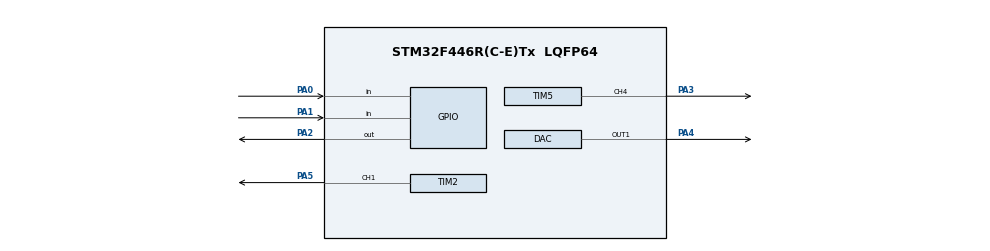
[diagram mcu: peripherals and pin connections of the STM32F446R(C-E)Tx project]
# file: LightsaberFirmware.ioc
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Dma.Request0=TIM2_CH1
Dma.TIM2_CH1.0.Direction=DMA_MEMORY_TO_PERIPH
Dma.TIM2_CH1.0.FIFOMode=DMA_FIFOMODE_DISABLE
Dma.TIM2_CH1.0.Instance=DMA1_Stream5
Dma.TIM2_CH1.0.MemDataAlignment=DMA_MDATAALIGN_WORD
Dma.TIM2_CH1.0.MemInc=DMA_MINC_ENABLE
Dma.TIM2_CH1.0.Mode=DMA_NORMAL
Dma.TIM2_CH1.0.PeriphDataAlignment=DMA_PDATAALIGN_WORD
Dma.TIM2_CH1.0.PeriphInc=DMA_PINC_DISABLE
Dma.TIM2_CH1.0.Priority=DMA_PRIORITY_VERY_HIGH
Mcu.Family=STM32F4
Mcu.Name=STM32F446R(C-E)Tx
Mcu.Package=LQFP64
NVIC.DMA1_Stream5_IRQn=true\:0\:0\:false\:false\:true\:false\:true\:true
NVIC.PriorityGroup=NVIC_PRIORITYGROUP_4
NVIC.TIM6_DAC_IRQn=true\:0\:0\:false\:false\:true\:true\:true\:true
PA0-WKUP.Signal=GPIO_Input
PA1.Signal=GPIO_Input
PA13.Mode=Trace_Asynchronous_SW
PA13.Signal=SYS_JTMS-SWDIO
PA14.Mode=Trace_Asynchronous_SW
PA14.Signal=SYS_JTCK-SWCLK
PA2.PinState=GPIO_PIN_SET
PA2.Signal=GPIO_Output
PA3.Signal=S_TIM5_CH4
PA4.Signal=COMP_DAC1_group
PA5.Signal=S_TIM2_CH1_ETR
PB3.Mode=Trace_Asynchronous_SW
PB3.Signal=SYS_JTDO-SWO
PH0-OSC_IN.Mode=HSE-External-Oscillator
PH0-OSC_IN.Signal=RCC_OSC_IN
PH1-OSC_OUT.Mode=HSE-External-Oscillator
PH1-OSC_OUT.Signal=RCC_OSC_OUT
ProjectManager.HeapSize=0x200
ProjectManager.StackSize=0x400
ProjectManager.TargetToolchain=STM32CubeIDE
RCC.APB2Freq_Value=16000000
RCC.APB2TimFreq_Value=16000000
RCC.CortexFreq_Value=16000000
RCC.HSE_VALUE=8000000
RCC.USBFreq_Value=96000000
RCC.VCOOutputFreq_Value=192000000
SH.COMP_DAC1_group.0=DAC_OUT1,DAC_OUT1
SH.S_TIM2_CH1_ETR.0=TIM2_CH1,PWM Generation1 CH1
SH.S_TIM5_CH4.0=TIM5_CH4,PWM Generation4 CH4
TIM2.Channel-PWM\ Generation1\ CH1=TIM_CHANNEL_1
TIM2.Period=20-1
TIM5.Channel-PWM\ Generation4\ CH4=TIM_CHANNEL_4
TIM5.Period=1000 - 1
TIM6.Period=2000 - 1
VP_TIM2_VS_ClockSourceINT.Mode=Internal
VP_TIM6_VS_ClockSourceINT.Mode=Enable_Timer
board=custom

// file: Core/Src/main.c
/* USER CODE BEGIN Header */
/**
  ******************************************************************************
  * @file           : main.c
  * @brief          : Main program body
  ******************************************************************************
  * @attention
  *
  * Copyright (c) 2024 STMicroelectronics.
  * All rights reserved.
  *
  * This software is licensed under terms that can be found in the LICENSE file
  * in the root directory of this software component.
  * If no LICENSE file comes with this software, it is provided AS-IS.
  *
  ******************************************************************************
  */
/* USER CODE END Header */
#include "main.h"

/* USER CODE BEGIN Includes */
#include "sound.h"
/* USER CODE END Includes */

/* USER CODE BEGIN PTD */
// Datatype to store the color to be sent to neopixels. Only lower 24 bits are used
typedef union {
	struct {
		uint8_t b;
		uint8_t r;
		uint8_t g;
	} color;
	uint32_t data;
} PixelGRB_t;
// Datatype to determine state of lightsaber
enum STATE {
	STARTUP,
	LIGHT,
	OFF
};

/* USER CODE END PTD */

/* USER CODE BEGIN PD */
#define NEOPIXEL_ZERO 5 // Needs to be high for 1/4 of 20 ticks
#define NEOPIXEL_ONE 10 // high for 1/2 of 20 ticks

#define NUM_PIXELS 30

#define DMA_BUFF_SIZE (NUM_PIXELS * 24) + 1
/* USER CODE END PD */

DAC_HandleTypeDef hdac;

TIM_HandleTypeDef htim2;
TIM_HandleTypeDef htim5;
TIM_HandleTypeDef htim6;
DMA_HandleTypeDef hdma_tim2_ch1;

/* USER CODE BEGIN PV */
int soundIndex = 0;
int play = 0;
int rep = 0;
/* USER CODE END PV */

void SystemClock_Config(void);
static void MX_GPIO_Init(void);
static void MX_DMA_Init(void);
static void MX_DAC_Init(void);
static void MX_TIM2_Init(void);
static void MX_TIM6_Init(void);
static void MX_TIM5_Init(void);

/* USER CODE BEGIN 0 */
void HAL_TIM_PWM_PulseFinishedCallback(TIM_HandleTypeDef *htim)
{
  HAL_TIM_PWM_Stop_DMA(htim, TIM_CHANNEL_1);
}
void HAL_TIM_PeriodElapsedCallback(TIM_HandleTypeDef *htim) {
  // callback updates sound every 125us
	if (htim == &htim6) {
		if (play) {
			HAL_DAC_SetValue(&hdac, DAC_CHANNEL_1, DAC_ALIGN_8B_R, swing[soundIndex]);
			soundIndex++;
			if (soundIndex >= 4272) {
				soundIndex = 0;
				play = 0;
				rep = 1;
			}
		}
		else {
			if (rep) {
				HAL_DAC_SetValue(&hdac, DAC_CHANNEL_1, DAC_ALIGN_12B_R, 0);
				rep = 0;
			}

		}
	}
}
/* USER CODE END 0 */

int main(void)
{

  /* USER CODE BEGIN 1 */
	PixelGRB_t pixels[NUM_PIXELS];
	uint32_t dmaBuff [DMA_BUFF_SIZE];
  /* USER CODE END 1 */

  /* MCU Configuration--------------------------------------------------------*/

  /* Reset of all peripherals, Initializes the Flash interface and the Systick. */
  HAL_Init();

  /* Configure the system clock */
  SystemClock_Config();

  /* Initialize all configured peripherals */
  MX_GPIO_Init();
  MX_DMA_Init();
  MX_DAC_Init();
  MX_TIM2_Init();
  MX_TIM6_Init();
  MX_TIM5_Init();
  /* USER CODE BEGIN 2 */
  int nextLightTime = 100;
  enum STATE currentState = STARTUP;
  int prevButton = 0;
  int offTime;
  int litPixels = 0;
  HAL_DAC_Start(&hdac, DAC_CHANNEL_1);
  HAL_TIM_Base_Start_IT(&htim6);
  HAL_DAC_SetValue(&hdac, DAC_CHANNEL_1, DAC_ALIGN_12B_R, 0);
  HAL_TIM_PWM_Start(&htim5, TIM_CHANNEL_4);

  /* USER CODE END 2 */

  /* Infinite loop */
  /* USER CODE BEGIN WHILE */
  while (1)
  {
	  int currentButton = HAL_GPIO_ReadPin(GPIOA, GPIO_PIN_0);
	  int lightTime = HAL_GetTick();

	  switch(currentState) {
	  case STARTUP:
      // case for after button pressed to turn on firmware, before released
		  if (!currentButton) {
			  currentState = LIGHT;
		  }
		  play = 1;
		  litPixels = 0;
      // rumble motor
		  __HAL_TIM_SET_COMPARE(&htim5, TIM_CHANNEL_4, 900);

		  break;
	  case LIGHT:
      // normal opperation state
		  if (!currentButton && prevButton) {
			  currentState = OFF;
			  offTime = lightTime;
		  }
		  __HAL_TIM_SET_COMPARE(&htim5, TIM_CHANNEL_4, 0);

		  break;
	  case OFF:
      // turn off state
		  if (lightTime - offTime > 5000) {
        // enter sleep mode
			  HAL_GPIO_WritePin(GPIOA, GPIO_PIN_2, GPIO_PIN_RESET);
		  }
		  if (!currentButton && prevButton) {
			  currentState = LIGHT;
		  }
		  break;
	  default:
		  currentState = LIGHT;

	  }
    // Updates color packet for neopixel
	  if (lightTime >= nextLightTime) {
		  nextLightTime = lightTime + 100;
		  if (currentState != OFF) {
        // for startup sequence
			  litPixels += 5;
			  if (litPixels > NUM_PIXELS) {
				  litPixels = NUM_PIXELS;
			  }
		  }
		  else {
			  litPixels -= 5;
			  if (litPixels < 0) {
				  litPixels = 0;
			  }
		  }
		  for (int i = 0; i < NUM_PIXELS; i++) {
			  if (i <= litPixels) {
				  pixels[i].color.g = 0;
				  pixels[i].color.r = 50;
				  pixels[i].color.b = 0;
			  }
			  else {
				  pixels[i].color.g = 0;
				  pixels[i].color.r = 0;
				  pixels[i].color.b = 0;
			  }

		  }
      // Sends color data to DMA
		  for (int i = 0; i < NUM_PIXELS; i++) {
			  for (int j = 0; j < 24; j++) {
				  if (((pixels[i].data) >> (23 - j)) & 0x01) {
					  dmaBuff[i * 24 + j] = NEOPIXEL_ONE;
				  }
				  else {
					  dmaBuff[i * 24 + j] = NEOPIXEL_ZERO;
				  }
			  }
		  }
		  HAL_TIM_PWM_Start_DMA(&htim2, TIM_CHANNEL_1, dmaBuff, DMA_BUFF_SIZE);
	  }
	  prevButton = currentButton;

    /* USER CODE END WHILE */

  }
}

void SystemClock_Config(void)
{
  RCC_OscInitTypeDef RCC_OscInitStruct = {0};
  RCC_ClkInitTypeDef RCC_ClkInitStruct = {0};

  /** Configure the main internal regulator output voltage
  */
  __HAL_RCC_PWR_CLK_ENABLE();
  __HAL_PWR_VOLTAGESCALING_CONFIG(PWR_REGULATOR_VOLTAGE_SCALE3);

  /** Initializes the RCC Oscillators according to the specified parameters
  * in the RCC_OscInitTypeDef structure.
  */
  RCC_OscInitStruct.OscillatorType = RCC_OSCILLATORTYPE_HSI;
  RCC_OscInitStruct.HSIState = RCC_HSI_ON;
  RCC_OscInitStruct.HSICalibrationValue = RCC_HSICALIBRATION_DEFAULT;
  RCC_OscInitStruct.PLL.PLLState = RCC_PLL_NONE;
  if (HAL_RCC_OscConfig(&RCC_OscInitStruct) != HAL_OK)
  {
    Error_Handler();
  }

  /** Initializes the CPU, AHB and APB buses clocks
  */
  RCC_ClkInitStruct.ClockType = RCC_CLOCKTYPE_HCLK|RCC_CLOCKTYPE_SYSCLK
                              |RCC_CLOCKTYPE_PCLK1|RCC_CLOCKTYPE_PCLK2;
  RCC_ClkInitStruct.SYSCLKSource = RCC_SYSCLKSOURCE_HSI;
  RCC_ClkInitStruct.AHBCLKDivider = RCC_SYSCLK_DIV1;
  RCC_ClkInitStruct.APB1CLKDivider = RCC_HCLK_DIV1;
  RCC_ClkInitStruct.APB2CLKDivider = RCC_HCLK_DIV1;

  if (HAL_RCC_ClockConfig(&RCC_ClkInitStruct, FLASH_LATENCY_0) != HAL_OK)
  {
    Error_Handler();
  }
}

static void MX_DAC_Init(void)
{

  DAC_ChannelConfTypeDef sConfig = {0};

  /** DAC Initialization
  */
  hdac.Instance = DAC;
  if (HAL_DAC_Init(&hdac) != HAL_OK)
  {
    Error_Handler();
  }

  /** DAC channel OUT1 config
  */
  sConfig.DAC_Trigger = DAC_TRIGGER_NONE;
  sConfig.DAC_OutputBuffer = DAC_OUTPUTBUFFER_ENABLE;
  if (HAL_DAC_ConfigChannel(&hdac, &sConfig, DAC_CHANNEL_1) != HAL_OK)
  {
    Error_Handler();
  }

}

static void MX_TIM2_Init(void)
{

  TIM_ClockConfigTypeDef sClockSourceConfig = {0};
  TIM_MasterConfigTypeDef sMasterConfig = {0};
  TIM_OC_InitTypeDef sConfigOC = {0};

  htim2.Instance = TIM2;
  htim2.Init.Prescaler = 0;
  htim2.Init.CounterMode = TIM_COUNTERMODE_UP;
  htim2.Init.Period = 20-1;
  htim2.Init.ClockDivision = TIM_CLOCKDIVISION_DIV1;
  htim2.Init.AutoReloadPreload = TIM_AUTORELOAD_PRELOAD_DISABLE;
  if (HAL_TIM_Base_Init(&htim2) != HAL_OK)
  {
    Error_Handler();
  }
  sClockSourceConfig.ClockSource = TIM_CLOCKSOURCE_INTERNAL;
  if (HAL_TIM_ConfigClockSource(&htim2, &sClockSourceConfig) != HAL_OK)
  {
    Error_Handler();
  }
  if (HAL_TIM_PWM_Init(&htim2) != HAL_OK)
  {
    Error_Handler();
  }
  sMasterConfig.MasterOutputTrigger = TIM_TRGO_RESET;
  sMasterConfig.MasterSlaveMode = TIM_MASTERSLAVEMODE_DISABLE;
  if (HAL_TIMEx_MasterConfigSynchronization(&htim2, &sMasterConfig) != HAL_OK)
  {
    Error_Handler();
  }
  sConfigOC.OCMode = TIM_OCMODE_PWM1;
  sConfigOC.Pulse = 0;
  sConfigOC.OCPolarity = TIM_OCPOLARITY_HIGH;
  sConfigOC.OCFastMode = TIM_OCFAST_DISABLE;
  if (HAL_TIM_PWM_ConfigChannel(&htim2, &sConfigOC, TIM_CHANNEL_1) != HAL_OK)
  {
    Error_Handler();
  }
  HAL_TIM_MspPostInit(&htim2);

}

static void MX_TIM5_Init(void)
{

  TIM_MasterConfigTypeDef sMasterConfig = {0};
  TIM_OC_InitTypeDef sConfigOC = {0};

  htim5.Instance = TIM5;
  htim5.Init.Prescaler = 0;
  htim5.Init.CounterMode = TIM_COUNTERMODE_UP;
  htim5.Init.Period = 1000 - 1;
  htim5.Init.ClockDivision = TIM_CLOCKDIVISION_DIV1;
  htim5.Init.AutoReloadPreload = TIM_AUTORELOAD_PRELOAD_DISABLE;
  if (HAL_TIM_PWM_Init(&htim5) != HAL_OK)
  {
    Error_Handler();
  }
  sMasterConfig.MasterOutputTrigger = TIM_TRGO_RESET;
  sMasterConfig.MasterSlaveMode = TIM_MASTERSLAVEMODE_DISABLE;
  if (HAL_TIMEx_MasterConfigSynchronization(&htim5, &sMasterConfig) != HAL_OK)
  {
    Error_Handler();
  }
  sConfigOC.OCMode = TIM_OCMODE_PWM1;
  sConfigOC.Pulse = 0;
  sConfigOC.OCPolarity = TIM_OCPOLARITY_HIGH;
  sConfigOC.OCFastMode = TIM_OCFAST_DISABLE;
  if (HAL_TIM_PWM_ConfigChannel(&htim5, &sConfigOC, TIM_CHANNEL_4) != HAL_OK)
  {
    Error_Handler();
  }
  HAL_TIM_MspPostInit(&htim5);

}

static void MX_TIM6_Init(void)
{

  TIM_MasterConfigTypeDef sMasterConfig = {0};

  htim6.Instance = TIM6;
  htim6.Init.Prescaler = 0;
  htim6.Init.CounterMode = TIM_COUNTERMODE_UP;
  htim6.Init.Period = 2000 - 1;
  htim6.Init.AutoReloadPreload = TIM_AUTORELOAD_PRELOAD_DISABLE;
  if (HAL_TIM_Base_Init(&htim6) != HAL_OK)
  {
    Error_Handler();
  }
  sMasterConfig.MasterOutputTrigger = TIM_TRGO_RESET;
  sMasterConfig.MasterSlaveMode = TIM_MASTERSLAVEMODE_DISABLE;
  if (HAL_TIMEx_MasterConfigSynchronization(&htim6, &sMasterConfig) != HAL_OK)
  {
    Error_Handler();
  }

}

static void MX_DMA_Init(void)
{

  /* DMA controller clock enable */
  __HAL_RCC_DMA1_CLK_ENABLE();

  /* DMA interrupt init */
  /* DMA1_Stream5_IRQn interrupt configuration */
  HAL_NVIC_SetPriority(DMA1_Stream5_IRQn, 0, 0);
  HAL_NVIC_EnableIRQ(DMA1_Stream5_IRQn);

}

static void MX_GPIO_Init(void)
{
  GPIO_InitTypeDef GPIO_InitStruct = {0};

  /* GPIO Ports Clock Enable */
  __HAL_RCC_GPIOH_CLK_ENABLE();
  __HAL_RCC_GPIOA_CLK_ENABLE();
  __HAL_RCC_GPIOB_CLK_ENABLE();

  /*Configure GPIO pin Output Level */
  HAL_GPIO_WritePin(GPIOA, GPIO_PIN_2, GPIO_PIN_SET);

  /*Configure GPIO pins : PA0 PA1 */
  GPIO_InitStruct.Pin = GPIO_PIN_0|GPIO_PIN_1;
  GPIO_InitStruct.Mode = GPIO_MODE_INPUT;
  GPIO_InitStruct.Pull = GPIO_NOPULL;
  HAL_GPIO_Init(GPIOA, &GPIO_InitStruct);

  /*Configure GPIO pin : PA2 */
  GPIO_InitStruct.Pin = GPIO_PIN_2;
  GPIO_InitStruct.Mode = GPIO_MODE_OUTPUT_PP;
  GPIO_InitStruct.Pull = GPIO_NOPULL;
  GPIO_InitStruct.Speed = GPIO_SPEED_FREQ_LOW;
  HAL_GPIO_Init(GPIOA, &GPIO_InitStruct);

}

void Error_Handler(void)
{
  __disable_irq();
  while (1)
  {
  }
}
